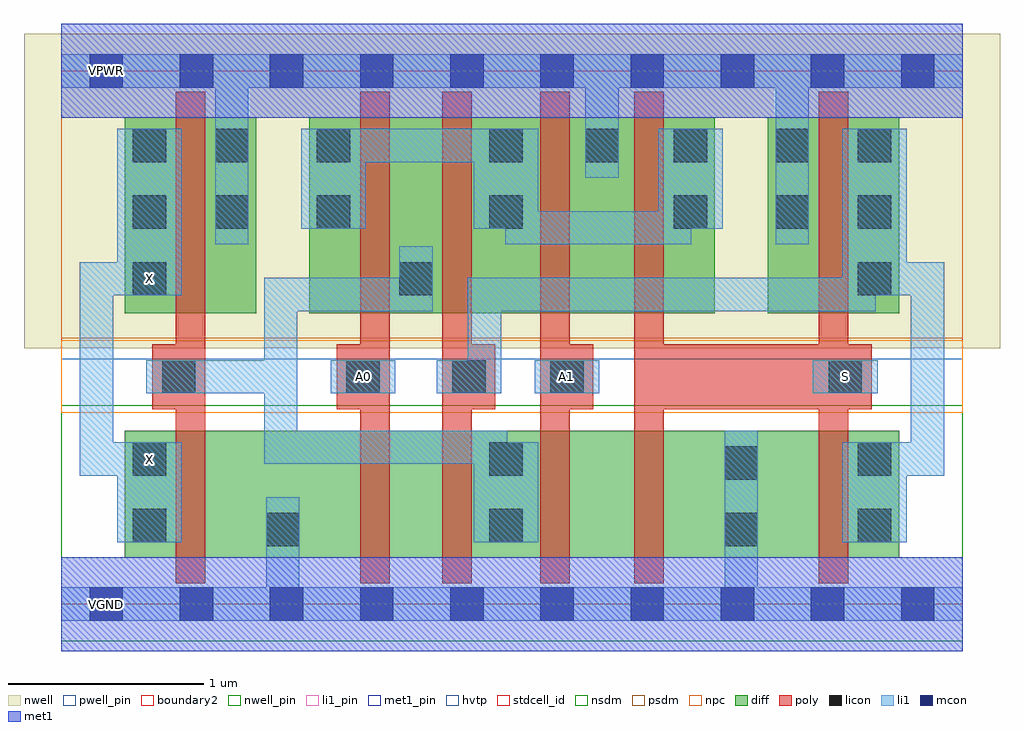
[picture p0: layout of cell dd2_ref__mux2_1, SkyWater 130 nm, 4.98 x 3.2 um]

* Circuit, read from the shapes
.subckt dd2_ref__mux2_1 A0 A1 S VGND VNB VPB VPWR X
XM1 VGND n1 X VNB sky130_fd_pr__nfet_01v8 w=0.65 l=0.15
XM2 n2 A0 VGND VNB sky130_fd_pr__nfet_01v8 w=0.65 l=0.15
XM3 n1 n3 n2 VNB sky130_fd_pr__nfet_01v8 w=0.65 l=0.15
XM4 n4 A1 n1 VNB sky130_fd_pr__nfet_01v8 w=0.65 l=0.15
XM5 VGND S n4 VNB sky130_fd_pr__nfet_01v8 w=0.65 l=0.15
XM6 n3 S VGND VNB sky130_fd_pr__nfet_01v8 w=0.65 l=0.15
XM7 VPWR n1 X VPB sky130_fd_pr__pfet_01v8_hvt w=1 l=0.15
XM8 n1 A0 n5 VPB sky130_fd_pr__pfet_01v8_hvt w=1 l=0.15
XM9 n5 n3 n1 VPB sky130_fd_pr__pfet_01v8_hvt w=1 l=0.15
XM10 VPWR A1 n5 VPB sky130_fd_pr__pfet_01v8_hvt w=1 l=0.15
XM11 n5 S VPWR VPB sky130_fd_pr__pfet_01v8_hvt w=1 l=0.15
XM12 n3 S VPWR VPB sky130_fd_pr__pfet_01v8_hvt w=1 l=0.15
.ends

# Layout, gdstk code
import gdstk
lib = gdstk.Library(unit=1e-6, precision=1e-09)
def R(c, l, rs):  # rectangles x0, y0, x1, y1
    for r in rs: c.add(gdstk.rectangle(r[:2], r[2:], *l))
def A(c, l, x, y, w, h, nx, ny, dx, dy):  # array of equal rectangles
    R(c, l, [(x+i*dx, y+j*dy, x+i*dx+w, y+j*dy+h) for i in range(nx) for j in range(ny)])
nwell_pin = (64, 16)
nwell = (64, 20)
diff = (65, 20)
poly = (66, 20)
licon = (66, 44)
li1_pin = (67, 16)
li1 = (67, 20)
mcon = (67, 44)
met1_pin = (68, 16)
met1 = (68, 20)
hvtp = (78, 44)
stdcell_id = (81, 4)
nsdm = (93, 44)
psdm = (94, 20)
npc = (95, 20)
pwell_pin = (122, 16)
boundary2 = (236, 0)

dd2_ref__mux2_1 = lib.new_cell('dd2_ref__mux2_1')
R(dd2_ref__mux2_1, nwell_pin, [(0.145,2.635,0.315,2.805)])
R(dd2_ref__mux2_1, nwell, [(-0.19,1.305,4.79,2.91)])
R(dd2_ref__mux2_1, diff, [(0.325,0.235,1.13,0.885), (1.13,0.235,1.81,0.885), (1.81,0.235,2.27,0.885), (2.27,0.235,2.76,0.885), (2.76,0.235,3.47,0.885), (3.47,0.235,4.275,0.885), (0.325,1.485,0.995,2.485), (1.265,1.485,1.81,2.485), (1.81,1.485,2.27,2.485), (2.27,1.485,2.76,2.485), (2.76,1.485,3.335,2.485), (3.605,1.485,4.275,2.485)])
R(dd2_ref__mux2_1, poly, [(0.585,0.105,0.735,2.615), (1.525,0.105,1.675,2.615), (1.945,0.105,2.095,2.615), (2.445,0.105,2.595,2.615), (2.925,0.105,3.075,2.615), (3.865,0.105,4.015,2.615), (0.465,0.995,0.735,1.325), (1.405,0.995,1.675,1.325), (1.945,0.995,2.215,1.325), (2.445,0.995,2.715,1.325), (2.925,0.995,4.015,1.325), (3.865,0.995,4.135,1.325)])
A(dd2_ref__mux2_1, licon, 0.365, 1.575, 0.17, 0.17, 1, 3, 0, 0.34)
A(dd2_ref__mux2_1, licon, 4.065, 1.575, 0.17, 0.17, 1, 3, 0, 0.34)
R(dd2_ref__mux2_1, licon, [(1.045,0.295,1.215,0.465), (3.385,0.295,3.555,0.465), (0.365,0.315,0.535,0.485), (2.185,0.315,2.355,0.485), (4.065,0.315,4.235,0.485), (3.385,0.635,3.555,0.805), (0.365,0.655,0.535,0.825), (2.185,0.655,2.355,0.825), (4.065,0.655,4.235,0.825), (0.515,1.075,0.685,1.245), (1.455,1.075,1.625,1.245), (1.995,1.075,2.165,1.245), (2.495,1.075,2.665,1.245), (3.915,1.075,4.085,1.245), (1.725,1.575,1.895,1.745), (0.785,1.915,0.955,2.085), (1.305,1.915,1.475,2.085), (2.185,1.915,2.355,2.085), (3.125,1.915,3.295,2.085), (3.645,1.915,3.815,2.085), (0.785,2.255,0.955,2.425), (1.305,2.255,1.475,2.425), (2.185,2.255,2.355,2.425), (2.675,2.255,2.845,2.425), (3.125,2.255,3.295,2.425), (3.645,2.255,3.815,2.425)])
R(dd2_ref__mux2_1, li1_pin, [(0.365,0.655,0.535,0.825), (1.455,1.075,1.625,1.245), (2.495,1.075,2.665,1.245), (3.915,1.075,4.085,1.245), (0.365,1.575,0.535,1.745)])
A(dd2_ref__mux2_1, li1, 2.105, 1.915, 0.33, 0.51, 3, 1, 0.94, 0)
R(dd2_ref__mux2_1, li1, [(0,-0.085,4.6,0.085), (1.045,-0.085,1.215,0.545), (3.385,-0.085,3.555,0.545), (3.385,0.295,3.555,0.885), (0.285,0.315,0.615,0.825), (2.105,0.315,2.435,0.825), (3.985,0.315,4.315,0.825), (0.095,0.655,0.265,1.745), (0.095,0.655,0.455,0.825), (0.265,0.655,0.285,0.825), (0.265,0.655,0.285,0.825), (0.265,0.655,0.285,0.825), (0.265,0.655,0.285,0.825), (0.265,0.655,0.285,0.825), (0.265,0.655,0.285,0.825), (0.265,0.655,0.285,0.825), (0.265,0.655,0.285,0.825), (0.285,0.655,0.615,0.825), (2.105,0.655,2.435,0.825), (2.105,0.655,2.275,0.885), (3.985,0.655,4.315,0.825), (4.145,0.655,4.505,0.825), (4.315,0.655,4.335,0.825), (4.315,0.655,4.335,0.825), (4.315,0.655,4.335,0.825), (4.315,0.655,4.335,0.825), (4.315,0.655,4.335,0.825), (4.315,0.655,4.335,0.825), (4.315,0.655,4.335,0.825), (4.315,0.655,4.335,0.825), (4.335,0.655,4.505,1.745), (1.035,0.715,1.205,1.245), (1.035,0.715,2.275,0.885), (0.435,1.075,0.765,1.245), (0.595,1.075,1.205,1.245), (1.035,1.075,1.205,1.665), (1.375,1.075,1.705,1.245), (1.915,1.075,2.245,1.245), (2.075,1.075,2.245,1.665), (2.415,1.075,2.745,1.245), (3.835,1.075,4.165,1.245), (1.035,1.495,1.895,1.665), (1.725,1.495,1.895,1.825), (2.075,1.495,4.155,1.665), (3.985,1.495,4.155,1.745), (0.095,1.575,0.455,1.745), (0.265,1.575,0.285,1.745), (0.265,1.575,0.285,1.745), (0.265,1.575,0.285,1.745), (0.265,1.575,0.285,1.745), (0.265,1.575,0.285,1.745), (0.265,1.575,0.285,1.745), (0.265,1.575,0.285,1.745), (0.265,1.575,0.285,1.745), (0.285,1.575,0.615,1.745), (0.285,1.575,0.615,2.085), (3.985,1.575,4.315,1.745), (3.985,1.575,4.315,2.085), (4.145,1.575,4.505,1.745), (4.155,1.575,4.315,1.665), (4.155,1.575,4.315,1.665), (4.155,1.575,4.315,1.665), (4.155,1.575,4.315,1.665), (4.155,1.575,4.315,1.665), (4.155,1.575,4.315,1.665), (4.155,1.575,4.315,1.665), (4.155,1.575,4.315,1.665), (4.155,1.575,4.315,1.665), (4.155,1.575,4.315,1.665), (4.155,1.575,4.315,1.665), (4.155,1.575,4.315,1.665), (4.155,1.575,4.315,1.665), (4.155,1.575,4.315,1.665), (4.155,1.575,4.315,1.665), (4.155,1.575,4.315,1.665), (4.155,1.575,4.315,1.665), (4.155,1.575,4.315,1.665), (4.155,1.575,4.315,1.745), (4.155,1.575,4.315,1.745), (4.155,1.575,4.315,1.745), (4.155,1.575,4.315,1.745), (4.155,1.575,4.315,1.745), (4.155,1.575,4.315,1.745), (4.155,1.575,4.315,1.745), (4.155,1.575,4.315,1.745), (4.155,1.575,4.315,1.745), (4.155,1.575,4.315,1.745), (4.155,1.575,4.315,1.745), (4.155,1.575,4.315,1.745), (4.155,1.575,4.315,1.745), (4.155,1.575,4.315,1.745), (4.315,1.575,4.335,1.745), (4.315,1.575,4.335,1.745), (4.315,1.575,4.335,1.745), (4.315,1.575,4.335,1.745), (4.315,1.575,4.335,1.745), (4.315,1.575,4.335,1.745), (4.315,1.575,4.335,1.745), (4.315,1.575,4.335,1.745), (4.315,1.575,4.335,1.745), (4.315,1.575,4.335,1.745), (4.315,1.575,4.335,1.745), (4.315,1.575,4.335,1.745), (4.315,1.575,4.335,1.745), (4.315,1.575,4.335,1.745), (4.315,1.575,4.335,1.745), (4.315,1.575,4.335,1.745), (4.315,1.575,4.335,1.665), (4.315,1.575,4.335,1.665), (4.315,1.575,4.335,1.665), (4.315,1.575,4.335,1.665), (4.315,1.575,4.335,1.665), (4.315,1.575,4.335,1.665), (4.315,1.575,4.335,1.665), (4.315,1.575,4.335,1.665), (0.785,1.835,0.955,2.425), (2.265,1.835,2.435,2.425), (2.265,1.835,3.215,2.005), (3.045,1.835,3.215,2.425), (3.645,1.835,3.815,2.425), (0.285,1.915,0.615,2.425), (1.225,1.915,1.555,2.425), (0.785,2.175,0.955,2.805), (2.675,2.175,2.845,2.805), (3.645,2.175,3.815,2.805), (1.225,2.255,1.555,2.425), (1.385,2.255,2.275,2.425), (2.105,2.255,2.435,2.425), (3.045,2.255,3.375,2.425), (0,2.635,4.6,2.805)])
A(dd2_ref__mux2_1, mcon, 0.145, -0.085, 0.17, 0.17, 10, 2, 0.46, 2.72)
R(dd2_ref__mux2_1, met1_pin, [(0.145,-0.085,0.315,0.085), (0.145,2.635,0.315,2.805)])
R(dd2_ref__mux2_1, met1, [(0,-0.24,4.6,0.24), (0,2.48,4.6,2.96)])
R(dd2_ref__mux2_1, hvtp, [(0,1.25,4.6,2.72)])
R(dd2_ref__mux2_1, stdcell_id, [(0,0,4.6,2.72)])
R(dd2_ref__mux2_1, nsdm, [(0,-0.19,4.6,1.015)])
R(dd2_ref__mux2_1, psdm, [(0,1.355,4.6,2.91)])
R(dd2_ref__mux2_1, npc, [(0,0.975,4.6,1.345)])
R(dd2_ref__mux2_1, pwell_pin, [(0.145,-0.085,0.315,0.085)])
R(dd2_ref__mux2_1, boundary2, [(0,0,4.6,2.72)])
dd2_ref__mux2_1.add(gdstk.Label('A0', (1.54,1.16), layer=67, texttype=5))
dd2_ref__mux2_1.add(gdstk.Label('A1', (2.58,1.16), layer=67, texttype=5))
dd2_ref__mux2_1.add(gdstk.Label('S', (4,1.16), layer=67, texttype=5))
dd2_ref__mux2_1.add(gdstk.Label('X', (0.45,0.74), layer=67, texttype=5))
dd2_ref__mux2_1.add(gdstk.Label('X', (0.45,1.66), layer=67, texttype=5))
dd2_ref__mux2_1.add(gdstk.Label('VGND', (0.23,0), layer=68, texttype=5))
dd2_ref__mux2_1.add(gdstk.Label('VPWR', (0.23,2.72), layer=68, texttype=5))
dd2_ref__mux2_1.add(gdstk.Label('VPB', (0.23,2.72), layer=64, texttype=5))
dd2_ref__mux2_1.add(gdstk.Label('VNB', (0.23,0), layer=64, texttype=59))

lib.write_gds('dd2_ref__mux2_1.gds')
